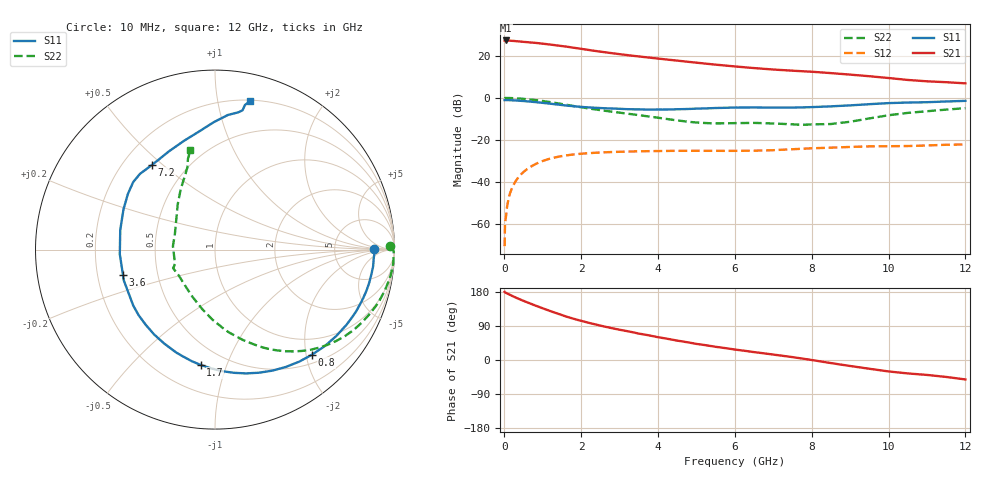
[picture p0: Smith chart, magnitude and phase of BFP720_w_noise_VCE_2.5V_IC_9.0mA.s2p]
! Infineon Technologies  Discrete & RF Semiconductors
! BFP720
! VCE =  2.5 V,  IC =  9.0 mA
! Common Emitter S-Parameters:  Aug 2012
# GHz  S  MA  R  50
!  f  S11  S21  S12  S22
! GHz  MAG  ANG  MAG  ANG  MAG  ANG  MAG  ANG
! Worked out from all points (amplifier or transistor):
!   105 points, 10 MHz to 12 GHz, reference 50 ohm
!   highest |S21| = 27.3 dB at 50 MHz (marker M1)
!   |S21| within 3 dB of that: start of sweep to 1.641 GHz
!   unconditionally stable (mu >= 1): start of sweep to 11.84 MHz; 5.689 GHz to 11.29 GHz
!   at 300 MHz: K = 0.08, MSG = 33.2 dB, |S12| = -39.5 dB
!   at 3.6 GHz: K = 0.66, MSG = 22.4 dB, |S12| = -25.4 dB
!   at 12 GHz: K = 0.81, MSG = 14.5 dB, |S12| = -22.1 dB
!   lowest NFmin = 0.50 dB at 450 MHz
!   S11 on the Smith chart (normalised r, x): 10 MHz: 17, +0; 800 MHz: 0.66, -2.11; 1.7 GHz: 0.37, -0.81; 3.6 GHz: 0.31, -0.12; 7.2 GHz: 0.32, +0.46; 12 GHz: 0.21, +1.25
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0.01  0.8865 0.2  22.99 179.9  0.0003 -4.1  0.9756 1.3
0.02  0.889 -1.1  22.98 178.3  0.001 85.8  0.9955 -0.6
0.05  0.8858 -2.9  23.2 176.9  0.0016 88.5  0.9958 -1.8
0.25  0.8745 -15.1  22.57 167.1  0.0088 81.6  0.9851 -9.8
0.4  0.8578 -23.9  21.95 160.4  0.014 76.4  0.9649 -15.6
0.8  0.7965 -47.4  20.39 144.1  0.0264 63.8  0.8924 -30.2
1  0.7637 -58.9  19.45 136.5  0.0317 57.7  0.8451 -37.1
1.2  0.7285 -70.3  18.52 129.1  0.0362 52.1  0.7948 -43.5
1.4  0.6947 -81.2  17.54 122.1  0.0399 47.0  0.7428 -49.5
1.7  0.6475 -97.1  16.12 112.0  0.0441 40.2  0.6666 -57.6
2.1  0.6025 -114.5  14.22 100.8  0.0479 32.9  0.5808 -66.6
2.4  0.5815 -125.9  12.96 93.2  0.0499 28.5  0.5283 -72.7
2.8  0.5608 -139.4  11.57 84.0  0.0518 23.7  0.4715 -79.9
3.6  0.532 -164.5  9.454 68.0  0.054 16.6  0.3792 -93.9
4.1  0.5299 179.9  8.424 58.5  0.0548 13.1  0.3284 -104.5
5  0.5567 156.4  6.883 42.5  0.0554 8.2  0.2606 -129.9
6.1  0.5912 139.3  5.5 26.3  0.0553 5.6  0.2524 -153.2
7.2  0.5884 126.8  4.609 11.7  0.0585 5.8  0.2425 -158.9
8.5  0.6302 105.9  3.888 -8.1  0.0658 1.4  0.2396 159.0
9.5  0.7098 90.6  3.28 -23.1  0.0706 -3.6  0.3255 129.7
10.5  0.7763 80.3  2.674 -35.4  0.0719 -8.1  0.4409 112.5
12  0.8513 76.6  2.22 -51.3  0.0784 -15.4  0.5712 103.9
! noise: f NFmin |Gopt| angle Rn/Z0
0.45  0.5  0.31  1  0.2
1.8  0.56  0.29  20  0.12
2.4  0.62  0.24  42  0.27
5.5  0.76  0.12  33  0.15
10  0.95  0.4  -81  0.22
